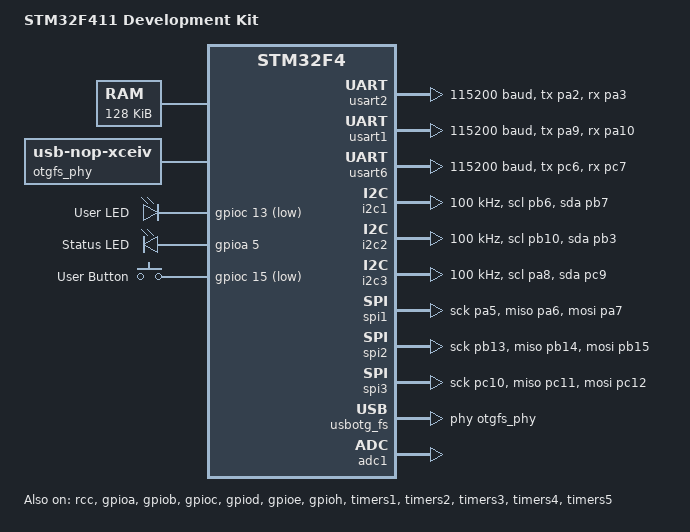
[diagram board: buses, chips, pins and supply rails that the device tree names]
// SPDX-License-Identifier: (GPL-2.0+ OR MIT)
/*
 * Device Tree file for STM32F411 Development Kit
 * ARM Cortex-M4 @ 100MHz
 * 512KB Flash, 128KB SRAM
 */

/dts-v1/;

#include <dt-bindings/gpio/gpio.h>
#include <dt-bindings/interrupt-controller/irq.h>
#include <dt-bindings/pinctrl/stm32-pinfunc.h>

/ {
	model = "STM32F411 Development Kit";
	compatible = "st,stm32f411", "st,stm32f4";

	#address-cells = <1>;
	#size-cells = <1>;

	chosen {
		stdout-path = "serial0:115200n8";
		zephyr,console = &usart2;
		zephyr,shell-uart = &usart2;
		zephyr,sram = &sram0;
		zephyr,flash = &flash0;
	};

	aliases {
		serial0 = &usart2;
		serial1 = &usart1;
		serial2 = &usart6;
		i2c-0 = &i2c1;
		i2c-1 = &i2c2;
		i2c-2 = &i2c3;
		spi-0 = &spi1;
		spi-1 = &spi2;
		spi-2 = &spi3;
		led0 = &led_user;
		sw0 = &user_button;
	};

	memory@20000000 {
		device_type = "memory";
		reg = <0x20000000 0x20000>; /* 128KB SRAM */
	};

	soc {
		compatible = "st,stm32f411", "simple-bus";
		#address-cells = <1>;
		#size-cells = <1>;
		ranges;

		flash0: flash@8000000 {
			compatible = "soc-nv-flash";
			reg = <0x08000000 0x80000>; /* 512KB Flash */
			#address-cells = <1>;
			#size-cells = <1>;

			/* Partition for bootloader and application */
			partitions {
				compatible = "fixed-partitions";
				#address-cells = <1>;
				#size-cells = <1>;

				boot_partition: partition@0 {
					label = "bootloader";
					reg = <0x00000000 0x00010000>; /* 64KB */
				};

				app_partition: partition@10000 {
					label = "application";
					reg = <0x00010000 0x00060000>; /* 384KB */
				};

				storage_partition: partition@70000 {
					label = "storage";
					reg = <0x00070000 0x00010000>; /* 64KB */
				};
			};
		};

		sram0: memory@20000000 {
			compatible = "mmio-sram";
			reg = <0x20000000 0x20000>; /* 128KB */
		};

		/* Clock controller */
		rcc: rcc@40023800 {
			compatible = "st,stm32f4-rcc";
			reg = <0x40023800 0x400>;
			#clock-cells = <2>;
			status = "okay";
		};

		/* GPIO Ports */
		gpioa: gpio@40020000 {
			compatible = "st,stm32-gpio";
			reg = <0x40020000 0x400>;
			gpio-controller;
			#gpio-cells = <2>;
			clocks = <&rcc 0 0>;
			status = "okay";
		};

		gpiob: gpio@40020400 {
			compatible = "st,stm32-gpio";
			reg = <0x40020400 0x400>;
			gpio-controller;
			#gpio-cells = <2>;
			clocks = <&rcc 0 1>;
			status = "okay";
		};

		gpioc: gpio@40020800 {
			compatible = "st,stm32-gpio";
			reg = <0x40020800 0x400>;
			gpio-controller;
			#gpio-cells = <2>;
			clocks = <&rcc 0 2>;
			status = "okay";
		};

		gpiod: gpio@40020c00 {
			compatible = "st,stm32-gpio";
			reg = <0x40020c00 0x400>;
			gpio-controller;
			#gpio-cells = <2>;
			clocks = <&rcc 0 3>;
			status = "okay";
		};

		gpioe: gpio@40021000 {
			compatible = "st,stm32-gpio";
			reg = <0x40021000 0x400>;
			gpio-controller;
			#gpio-cells = <2>;
			clocks = <&rcc 0 4>;
			status = "okay";
		};

		gpioh: gpio@40021c00 {
			compatible = "st,stm32-gpio";
			reg = <0x40021c00 0x400>;
			gpio-controller;
			#gpio-cells = <2>;
			clocks = <&rcc 0 7>;
			status = "okay";
		};

		/* USART2 - Connected to ST-Link for debugging */
		usart2: serial@40004400 {
			compatible = "st,stm32-usart", "st,stm32-uart";
			reg = <0x40004400 0x400>;
			interrupts = <38 0>;
			clocks = <&rcc 1 17>;
			status = "okay";
			current-speed = <115200>;
			pinctrl-0 = <&usart2_tx_pa2 &usart2_rx_pa3>;
			pinctrl-names = "default";
		};

		/* USART1 - General purpose */
		usart1: serial@40011000 {
			compatible = "st,stm32-usart", "st,stm32-uart";
			reg = <0x40011000 0x400>;
			interrupts = <37 0>;
			clocks = <&rcc 2 4>;
			status = "okay";
			current-speed = <115200>;
			pinctrl-0 = <&usart1_tx_pa9 &usart1_rx_pa10>;
			pinctrl-names = "default";
		};

		/* USART6 - General purpose */
		usart6: serial@40011400 {
			compatible = "st,stm32-usart", "st,stm32-uart";
			reg = <0x40011400 0x400>;
			interrupts = <71 0>;
			clocks = <&rcc 2 5>;
			status = "okay";
			current-speed = <115200>;
			pinctrl-0 = <&usart6_tx_pc6 &usart6_rx_pc7>;
			pinctrl-names = "default";
		};

		/* I2C1 */
		i2c1: i2c@40005400 {
			compatible = "st,stm32-i2c-v2";
			reg = <0x40005400 0x400>;
			interrupts = <31 0>, <32 0>;
			interrupt-names = "event", "error";
			clocks = <&rcc 1 21>;
			#address-cells = <1>;
			#size-cells = <0>;
			status = "okay";
			clock-frequency = <100000>; /* 100kHz standard mode */
			pinctrl-0 = <&i2c1_scl_pb6 &i2c1_sda_pb7>;
			pinctrl-names = "default";
		};

		/* I2C2 */
		i2c2: i2c@40005800 {
			compatible = "st,stm32-i2c-v2";
			reg = <0x40005800 0x400>;
			interrupts = <33 0>, <34 0>;
			interrupt-names = "event", "error";
			clocks = <&rcc 1 22>;
			#address-cells = <1>;
			#size-cells = <0>;
			status = "okay";
			clock-frequency = <100000>;
			pinctrl-0 = <&i2c2_scl_pb10 &i2c2_sda_pb3>;
			pinctrl-names = "default";
		};

		/* I2C3 */
		i2c3: i2c@40005c00 {
			compatible = "st,stm32-i2c-v2";
			reg = <0x40005c00 0x400>;
			interrupts = <72 0>, <73 0>;
			interrupt-names = "event", "error";
			clocks = <&rcc 1 23>;
			#address-cells = <1>;
			#size-cells = <0>;
			status = "okay";
			clock-frequency = <100000>;
			pinctrl-0 = <&i2c3_scl_pa8 &i2c3_sda_pc9>;
			pinctrl-names = "default";
		};

		/* SPI1 */
		spi1: spi@40013000 {
			compatible = "st,stm32-spi";
			reg = <0x40013000 0x400>;
			interrupts = <35 0>;
			clocks = <&rcc 2 12>;
			#address-cells = <1>;
			#size-cells = <0>;
			status = "okay";
			pinctrl-0 = <&spi1_sck_pa5 &spi1_miso_pa6 &spi1_mosi_pa7>;
			pinctrl-names = "default";
		};

		/* SPI2 */
		spi2: spi@40003800 {
			compatible = "st,stm32-spi";
			reg = <0x40003800 0x400>;
			interrupts = <36 0>;
			clocks = <&rcc 1 14>;
			#address-cells = <1>;
			#size-cells = <0>;
			status = "okay";
			pinctrl-0 = <&spi2_sck_pb13 &spi2_miso_pb14 &spi2_mosi_pb15>;
			pinctrl-names = "default";
		};

		/* SPI3 */
		spi3: spi@40003c00 {
			compatible = "st,stm32-spi";
			reg = <0x40003c00 0x400>;
			interrupts = <51 0>;
			clocks = <&rcc 1 15>;
			#address-cells = <1>;
			#size-cells = <0>;
			status = "okay";
			pinctrl-0 = <&spi3_sck_pc10 &spi3_miso_pc11 &spi3_mosi_pc12>;
			pinctrl-names = "default";
		};

		/* USB OTG FS */
		usbotg_fs: usb@50000000 {
			compatible = "st,stm32-otgfs";
			reg = <0x50000000 0x40000>;
			interrupts = <67 0>;
			interrupt-names = "otgfs";
			num-bidir-endpoints = <4>;
			ram-size = <1280>;
			maximum-speed = "full-speed";
			clocks = <&rcc 2 7>;
			phys = <&otgfs_phy>;
			status = "okay";
		};

		otgfs_phy: otgfs_phy {
			compatible = "usb-nop-xceiv";
			#phy-cells = <0>;
		};

		/* ADC1 */
		adc1: adc@40012000 {
			compatible = "st,stm32-adc";
			reg = <0x40012000 0x400>;
			interrupts = <18 0>;
			clocks = <&rcc 2 8>;
			#io-channel-cells = <1>;
			status = "okay";
		};

		/* Timers for PWM and general purpose */
		timers1: timers@40010000 {
			compatible = "st,stm32-timers";
			reg = <0x40010000 0x400>;
			clocks = <&rcc 2 0>;
			status = "okay";
		};

		timers2: timers@40000000 {
			compatible = "st,stm32-timers";
			reg = <0x40000000 0x400>;
			clocks = <&rcc 1 0>;
			status = "okay";
		};

		timers3: timers@40000400 {
			compatible = "st,stm32-timers";
			reg = <0x40000400 0x400>;
			clocks = <&rcc 1 1>;
			status = "okay";
		};

		timers4: timers@40000800 {
			compatible = "st,stm32-timers";
			reg = <0x40000800 0x400>;
			clocks = <&rcc 1 2>;
			status = "okay";
		};

		timers5: timers@40000c00 {
			compatible = "st,stm32-timers";
			reg = <0x40000c00 0x400>;
			clocks = <&rcc 1 3>;
			status = "okay";
		};
	};

	/* LEDs */
	leds {
		compatible = "gpio-leds";

		led_user: led_0 {
			gpios = <&gpioc 13 GPIO_ACTIVE_LOW>;
			label = "User LED";
			status = "okay";
		};

		led_status: led_1 {
			gpios = <&gpioa 5 GPIO_ACTIVE_HIGH>;
			label = "Status LED";
			status = "okay";
		};
	};

	/* Buttons */
	gpio_keys {
		compatible = "gpio-keys";

		user_button: button_0 {
			gpios = <&gpioc 15 (GPIO_ACTIVE_LOW | GPIO_PULL_UP)>;
			label = "User Button";
			status = "okay";
		};
	};

	/* Pin controller configuration */
	pinctrl {
		compatible = "st,stm32-pinctrl";

		/* USART2 pins */
		usart2_tx_pa2: usart2_tx_pa2 {
			pinmux = <STM32_PINMUX('A', 2, AF7)>;
		};
		usart2_rx_pa3: usart2_rx_pa3 {
			pinmux = <STM32_PINMUX('A', 3, AF7)>;
		};

		/* USART1 pins */
		usart1_tx_pa9: usart1_tx_pa9 {
			pinmux = <STM32_PINMUX('A', 9, AF7)>;
		};
		usart1_rx_pa10: usart1_rx_pa10 {
			pinmux = <STM32_PINMUX('A', 10, AF7)>;
		};

		/* USART6 pins */
		usart6_tx_pc6: usart6_tx_pc6 {
			pinmux = <STM32_PINMUX('C', 6, AF8)>;
		};
		usart6_rx_pc7: usart6_rx_pc7 {
			pinmux = <STM32_PINMUX('C', 7, AF8)>;
		};

		/* I2C1 pins */
		i2c1_scl_pb6: i2c1_scl_pb6 {
			pinmux = <STM32_PINMUX('B', 6, AF4)>;
		};
		i2c1_sda_pb7: i2c1_sda_pb7 {
			pinmux = <STM32_PINMUX('B', 7, AF4)>;
		};

		/* I2C2 pins */
		i2c2_scl_pb10: i2c2_scl_pb10 {
			pinmux = <STM32_PINMUX('B', 10, AF4)>;
		};
		i2c2_sda_pb3: i2c2_sda_pb3 {
			pinmux = <STM32_PINMUX('B', 3, AF9)>;
		};

		/* I2C3 pins */
		i2c3_scl_pa8: i2c3_scl_pa8 {
			pinmux = <STM32_PINMUX('A', 8, AF4)>;
		};
		i2c3_sda_pc9: i2c3_sda_pc9 {
			pinmux = <STM32_PINMUX('C', 9, AF4)>;
		};

		/* SPI1 pins */
		spi1_sck_pa5: spi1_sck_pa5 {
			pinmux = <STM32_PINMUX('A', 5, AF5)>;
		};
		spi1_miso_pa6: spi1_miso_pa6 {
			pinmux = <STM32_PINMUX('A', 6, AF5)>;
		};
		spi1_mosi_pa7: spi1_mosi_pa7 {
			pinmux = <STM32_PINMUX('A', 7, AF5)>;
		};

		/* SPI2 pins */
		spi2_sck_pb13: spi2_sck_pb13 {
			pinmux = <STM32_PINMUX('B', 13, AF5)>;
		};
		spi2_miso_pb14: spi2_miso_pb14 {
			pinmux = <STM32_PINMUX('B', 14, AF5)>;
		};
		spi2_mosi_pb15: spi2_mosi_pb15 {
			pinmux = <STM32_PINMUX('B', 15, AF5)>;
		};

		/* SPI3 pins */
		spi3_sck_pc10: spi3_sck_pc10 {
			pinmux = <STM32_PINMUX('C', 10, AF6)>;
		};
		spi3_miso_pc11: spi3_miso_pc11 {
			pinmux = <STM32_PINMUX('C', 11, AF6)>;
		};
		spi3_mosi_pc12: spi3_mosi_pc12 {
			pinmux = <STM32_PINMUX('C', 12, AF6)>;
		};
	};
};
